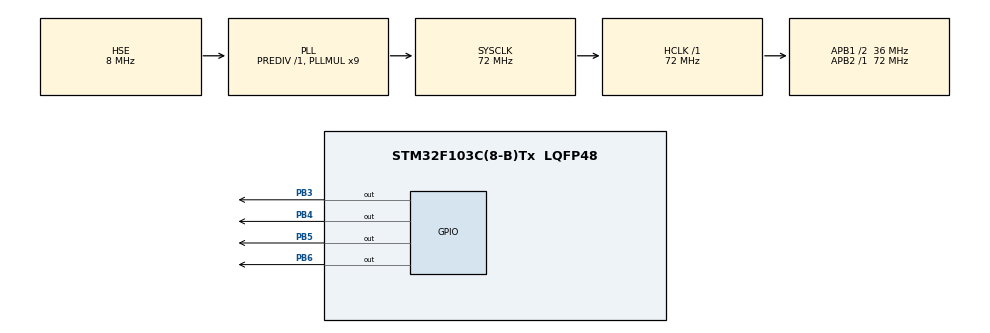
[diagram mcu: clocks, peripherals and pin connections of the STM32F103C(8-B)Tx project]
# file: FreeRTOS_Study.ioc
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FREERTOS.Tasks01=defaultTask,24,128,StartDefaultTask,Default,NULL,Dynamic,NULL,NULL
Mcu.Family=STM32F1
Mcu.Name=STM32F103C(8-B)Tx
Mcu.Package=LQFP48
NVIC.PriorityGroup=NVIC_PRIORITYGROUP_4
PA13.Mode=Serial_Wire
PA13.Signal=SYS_JTMS-SWDIO
PA14.Mode=Serial_Wire
PA14.Signal=SYS_JTCK-SWCLK
PB3.Signal=GPIO_Output
PB4.Signal=GPIO_Output
PB5.Signal=GPIO_Output
PB6.Signal=GPIO_Output
PD0-OSC_IN.Mode=HSE-External-Oscillator
PD0-OSC_IN.Signal=RCC_OSC_IN
PD1-OSC_OUT.Mode=HSE-External-Oscillator
PD1-OSC_OUT.Signal=RCC_OSC_OUT
ProjectManager.HeapSize=0x200
ProjectManager.StackSize=0x400
ProjectManager.TargetToolchain=STM32CubeIDE
RCC.AHBFreq_Value=72000000
RCC.APB1CLKDivider=RCC_HCLK_DIV2
RCC.APB1Freq_Value=36000000
RCC.APB1TimFreq_Value=72000000
RCC.APB2Freq_Value=72000000
RCC.APB2TimFreq_Value=72000000
RCC.HCLKFreq_Value=72000000
RCC.PLLMUL=RCC_PLL_MUL9
RCC.PLLSourceVirtual=RCC_PLLSOURCE_HSE
RCC.SYSCLKFreq_VALUE=72000000
RCC.SYSCLKSource=RCC_SYSCLKSOURCE_PLLCLK
RCC.USBFreq_Value=72000000
VP_FREERTOS_VS_CMSIS_V2.Mode=CMSIS_V2
board=custom

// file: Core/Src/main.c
/* USER CODE BEGIN Header */
/**
  ******************************************************************************
  * @file           : main.c
  * @brief          : Main program body
  ******************************************************************************
  * @attention
  *
  * Copyright (c) 2026 STMicroelectronics.
  * All rights reserved.
  *
  * This software is licensed under terms that can be found in the LICENSE file
  * in the root directory of this software component.
  * If no LICENSE file comes with this software, it is provided AS-IS.
  *
  ******************************************************************************
  */
/* USER CODE END Header */
#include "main.h"
#include "cmsis_os.h"

/* Definitions for defaultTask */
osThreadId_t defaultTaskHandle;
const osThreadAttr_t defaultTask_attributes = {
  .name = "defaultTask",
  .stack_size = 128 * 4,
  .priority = (osPriority_t) osPriorityNormal,
};
/* USER CODE BEGIN PV */
osThreadId_t led1Handle;
osThreadId_t led2Handle;
osThreadId_t led3Handle;
osThreadId_t led4Handle;
/* USER CODE END PV */

void SystemClock_Config(void);
static void MX_GPIO_Init(void);
void StartDefaultTask(void *argument);

/* USER CODE BEGIN PFP */
void Led1Task(void *argument);
void Led2Task(void *argument);
void Led3Task(void *argument);
void Led4Task(void *argument);
/* USER CODE END PFP */

int main(void)
{

  /* MCU Configuration--------------------------------------------------------*/

  /* Reset of all peripherals, Initializes the Flash interface and the Systick. */
  HAL_Init();

  /* Configure the system clock */
  SystemClock_Config();

  /* Initialize all configured peripherals */
  MX_GPIO_Init();

  /* Init scheduler */
  osKernelInitialize();

  /* Create the thread(s) */
  /* creation of defaultTask */
  //defaultTaskHandle = osThreadNew(StartDefaultTask, NULL, &defaultTask_attributes);
  led1Handle = osThreadNew(Led1Task, NULL, NULL);
  led2Handle = osThreadNew(Led2Task, NULL, NULL);
  led3Handle = osThreadNew(Led3Task, NULL, NULL);
  led4Handle = osThreadNew(Led4Task, NULL, NULL);

  /* Start scheduler */
  osKernelStart();

  /* We should never get here as control is now taken by the scheduler */

  /* Infinite loop */
  while (1)
  {

  }
}

void SystemClock_Config(void)
{
  RCC_OscInitTypeDef RCC_OscInitStruct = {0};
  RCC_ClkInitTypeDef RCC_ClkInitStruct = {0};

  /** Initializes the RCC Oscillators according to the specified parameters
  * in the RCC_OscInitTypeDef structure.
  */
  RCC_OscInitStruct.OscillatorType = RCC_OSCILLATORTYPE_HSE;
  RCC_OscInitStruct.HSEState = RCC_HSE_ON;
  RCC_OscInitStruct.HSEPredivValue = RCC_HSE_PREDIV_DIV1;
  RCC_OscInitStruct.HSIState = RCC_HSI_ON;
  RCC_OscInitStruct.PLL.PLLState = RCC_PLL_ON;
  RCC_OscInitStruct.PLL.PLLSource = RCC_PLLSOURCE_HSE;
  RCC_OscInitStruct.PLL.PLLMUL = RCC_PLL_MUL9;
  if (HAL_RCC_OscConfig(&RCC_OscInitStruct) != HAL_OK)
  {
    Error_Handler();
  }

  /** Initializes the CPU, AHB and APB buses clocks
  */
  RCC_ClkInitStruct.ClockType = RCC_CLOCKTYPE_HCLK|RCC_CLOCKTYPE_SYSCLK
                              |RCC_CLOCKTYPE_PCLK1|RCC_CLOCKTYPE_PCLK2;
  RCC_ClkInitStruct.SYSCLKSource = RCC_SYSCLKSOURCE_PLLCLK;
  RCC_ClkInitStruct.AHBCLKDivider = RCC_SYSCLK_DIV1;
  RCC_ClkInitStruct.APB1CLKDivider = RCC_HCLK_DIV2;
  RCC_ClkInitStruct.APB2CLKDivider = RCC_HCLK_DIV1;

  if (HAL_RCC_ClockConfig(&RCC_ClkInitStruct, FLASH_LATENCY_2) != HAL_OK)
  {
    Error_Handler();
  }
}

static void MX_GPIO_Init(void)
{
  GPIO_InitTypeDef GPIO_InitStruct = {0};

  /* GPIO Ports Clock Enable */
  __HAL_RCC_GPIOD_CLK_ENABLE();
  __HAL_RCC_GPIOA_CLK_ENABLE();
  __HAL_RCC_GPIOB_CLK_ENABLE();

  /*Configure GPIO pin Output Level */
  HAL_GPIO_WritePin(GPIOB, GPIO_PIN_3|GPIO_PIN_4|GPIO_PIN_5|GPIO_PIN_6, GPIO_PIN_RESET);

  /*Configure GPIO pins : PB3 PB4 PB5 PB6 */
  GPIO_InitStruct.Pin = GPIO_PIN_3|GPIO_PIN_4|GPIO_PIN_5|GPIO_PIN_6;
  GPIO_InitStruct.Mode = GPIO_MODE_OUTPUT_PP;
  GPIO_InitStruct.Pull = GPIO_NOPULL;
  GPIO_InitStruct.Speed = GPIO_SPEED_FREQ_LOW;
  HAL_GPIO_Init(GPIOB, &GPIO_InitStruct);

}

/* USER CODE BEGIN 4 */
void Led1Task(void *argument)
{
    HAL_GPIO_WritePin(GPIOB, GPIO_PIN_3, GPIO_PIN_SET); // OFF

    while (1)
    {
        HAL_GPIO_WritePin(GPIOB, GPIO_PIN_3, GPIO_PIN_RESET); // ON
        osDelay(500);

        HAL_GPIO_WritePin(GPIOB, GPIO_PIN_3, GPIO_PIN_SET);   // OFF
        osDelay(500);
    }
}

void Led2Task(void *argument)
{
    HAL_GPIO_WritePin(GPIOB, GPIO_PIN_4, GPIO_PIN_SET);

    while (1)
    {
        HAL_GPIO_WritePin(GPIOB, GPIO_PIN_4, GPIO_PIN_RESET);
        osDelay(1000);

        HAL_GPIO_WritePin(GPIOB, GPIO_PIN_4, GPIO_PIN_SET);
        osDelay(1000);
    }
}

void Led3Task(void *argument)
{
    HAL_GPIO_WritePin(GPIOB, GPIO_PIN_5, GPIO_PIN_SET);

    while (1)
    {
        HAL_GPIO_WritePin(GPIOB, GPIO_PIN_5, GPIO_PIN_RESET);
        osDelay(1500);

        HAL_GPIO_WritePin(GPIOB, GPIO_PIN_5, GPIO_PIN_SET);
        osDelay(1500);
    }
}

void Led4Task(void *argument)
{
    HAL_GPIO_WritePin(GPIOB, GPIO_PIN_6, GPIO_PIN_SET);

    while (1)
    {
        HAL_GPIO_WritePin(GPIOB, GPIO_PIN_6, GPIO_PIN_RESET);
        osDelay(2000);

        HAL_GPIO_WritePin(GPIOB, GPIO_PIN_6, GPIO_PIN_SET);
        osDelay(2000);
    }
}
/* USER CODE END 4 */

void StartDefaultTask(void *argument)
{
  /* USER CODE BEGIN 5 */
  /* Infinite loop */
  for(;;)
  {
    osDelay(1000);
  }
  /* USER CODE END 5 */
}

void Error_Handler(void)
{
  __disable_irq();
  while (1)
  {
  }
}
